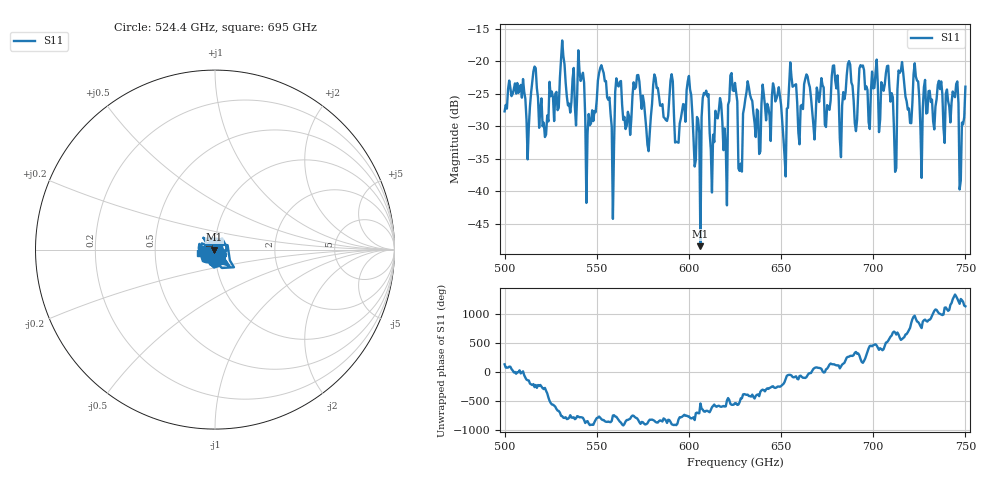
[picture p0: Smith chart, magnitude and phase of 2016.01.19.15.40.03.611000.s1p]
!Created with skrf (http://scikit-rf.org).
# GHz S RI R 50.0
!freq ReS11 ImS11
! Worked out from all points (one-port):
!   401 points, 500 GHz to 750 GHz, reference 50 ohm
!   lowest |S11| = -48.4 dB at 606.2 GHz (marker M1), VSWR 1.01, Z = 49.6 + j0.0189 ohm
!   |S11| at or under -10 dB: start of sweep to end of sweep
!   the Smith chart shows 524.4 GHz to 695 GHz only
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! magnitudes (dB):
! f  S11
! 500 GHz  -27.7
! 516.2 GHz  -20.8
! 522.5 GHz  -31.3
! 531.2 GHz  -16.8
! 535 GHz  -26.5
! 541.2 GHz  -23.0
! 545.6 GHz  -28.1
! 551.9 GHz  -21.0
! 558.1 GHz  -30.1
! 562.5 GHz  -23.2
! 578.1 GHz  -33.8
! 590.6 GHz  -22.0
! 593.8 GHz  -32.5
! 600 GHz  -22.3
! 606.2 GHz  -48.4
! 609.4 GHz  -24.5
! 619.4 GHz  -30.3
! 625 GHz  -23.3
! 628.1 GHz  -35.8
! 631.9 GHz  -23.1
! 651.9 GHz  -34.5
! 656.2 GHz  -23.9
! 683.1 GHz  -26.8
! 687.5 GHz  -20.5
! 718.8 GHz  -27.5
! 744.4 GHz  -25.5
! 748.1 GHz  -29.4
! 750 GHz  -23.9
